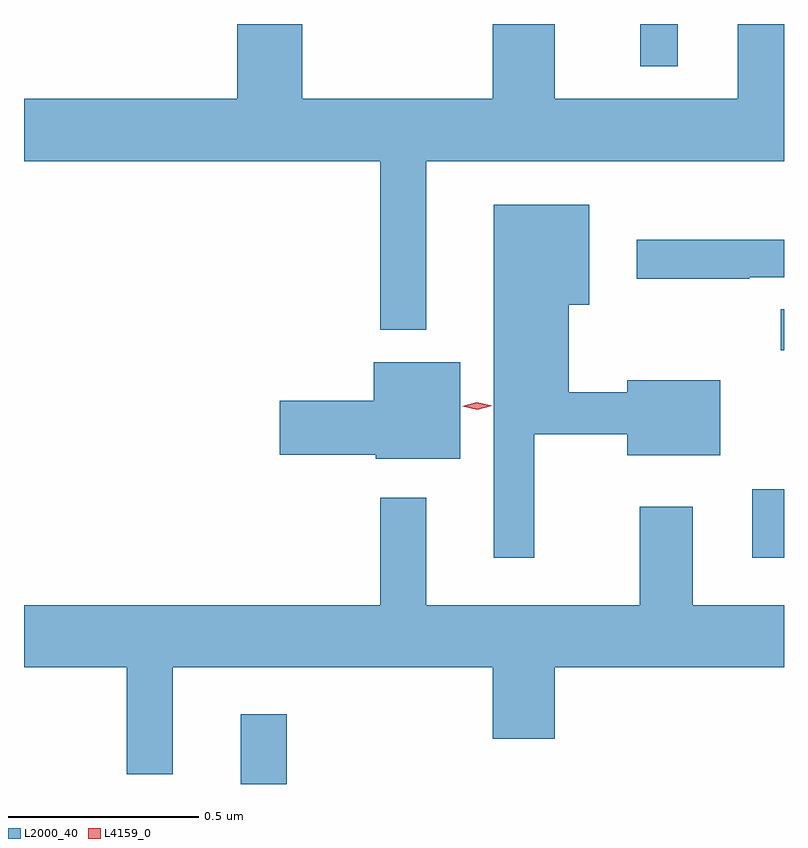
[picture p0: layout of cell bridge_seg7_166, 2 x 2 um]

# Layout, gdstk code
import gdstk
lib = gdstk.Library(unit=1e-6, precision=1e-09)
def R(c, l, rs):  # rectangles x0, y0, x1, y1
    for r in rs: c.add(gdstk.rectangle(r[:2], r[2:], *l))
def P(c, l, *ps):  # polygons
    for p in ps: c.add(gdstk.Polygon(p, *l))
L2000_40 = (2000, 40)
L4159_0 = (4159, 0)

bridge_seg7_166 = lib.new_cell('bridge_seg7_166')
R(bridge_seg7_166, L2000_40, [(476.033,1074.901,476.155,1075.084), (477.38,1075.497,477.463,1075.677), (477.455,1076.042,477.463,1076.15), (477.085,1076.79,477.184,1076.901)])
P(bridge_seg7_166, L2000_40, [(476.521,1076.54),(477.463,1076.54),(477.463,1076.901),(477.341,1076.901),(477.341,1076.704),(476.86,1076.704),(476.86,1076.901),(476.696,1076.901),(476.696,1076.704),(476.195,1076.704),(476.195,1076.901),(476.024,1076.901),(476.024,1076.704),(475.463,1076.704),(475.463,1076.54),(476.4,1076.54),(476.4,1076.096),(476.521,1076.096)],
  [(476.806,1075.821),(477.05,1075.821),(477.05,1075.766),(477.295,1075.766),(477.295,1075.963),(477.05,1075.963),(477.05,1075.932),(476.896,1075.932),(476.896,1076.162),(476.95,1076.162),(476.95,1076.425),(476.699,1076.425),(476.699,1075.497),(476.806,1075.497)],
  [(477.371,1076.235),(477.463,1076.235),(477.463,1076.333),(477.075,1076.333),(477.075,1076.23),(477.371,1076.23)],
  [(476.611,1076.011),(476.384,1076.011),(476.384,1075.91),(476.136,1075.91),(476.136,1075.768),(476.388,1075.768),(476.388,1075.757),(476.611,1075.757)],
  [(475.855,1075.208),(476.696,1075.208),(476.696,1075.02),(476.86,1075.02),(476.86,1075.208),(477.463,1075.208),(477.463,1075.372),(477.223,1075.372),(477.223,1075.63),(477.083,1075.63),(477.083,1075.372),(476.521,1075.372),(476.521,1075.654),(476.4,1075.654),(476.4,1075.372),(475.463,1075.372),(475.463,1075.208),(475.734,1075.208),(475.734,1074.927),(475.855,1074.927)])
P(bridge_seg7_166, L4159_0, [(476.656,1075.886),(476.616,1075.895),(476.616,1075.895),(476.616,1075.895),(476.655,1075.906),(476.695,1075.896),(476.695,1075.896),(476.695,1075.896)])

lib.write_gds('bridge_seg7_166.gds')
